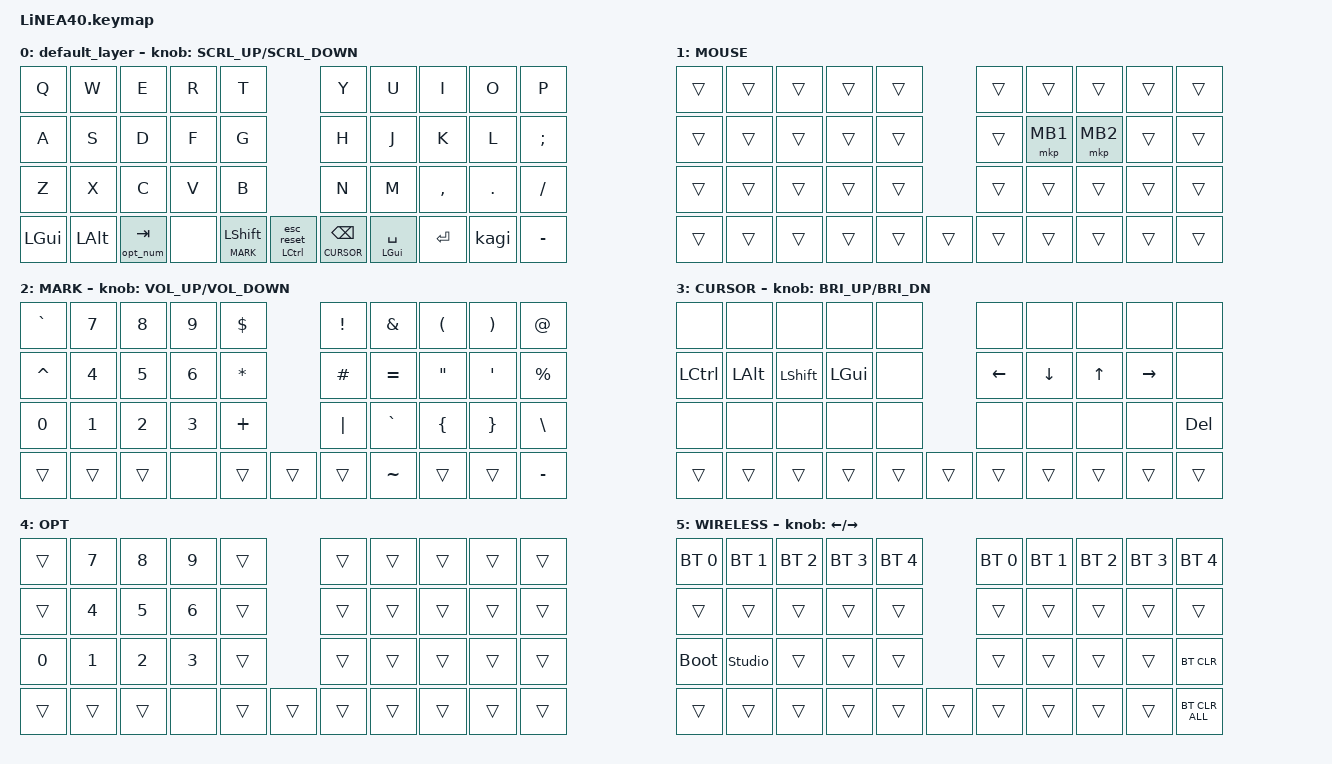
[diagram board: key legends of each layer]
#define ZMK_POINTING_DEFAULT_SCRL_VAL 150

#include <dt-bindings/zmk/input_transform.h>
#include <input/processors.dtsi>
#include <zephyr/dt-bindings/input/input-event-codes.h>
#include <behaviors.dtsi>
#include <dt-bindings/zmk/bt.h>
#include <dt-bindings/zmk/keys.h>
#include <dt-bindings/zmk/pointing.h>

#define MOUSE 1
#define MARK 2
#define CURSOR 3
#define OPT 4
#define WIRELESS 5

// 長押しの判定：別のキーを「押して離しきった」ときだけ長押し扱い（z→o の素早い連打で ⇧O に化けないように）
&mt {
    flavor = "balanced";
};

// ワンショット Shift：実質、次のキーを押すまでずっと Shift（1分で切れる）
&sk {
    release-after-ms = <60000>;
};

//mouse cursol

&mmv {
    delay-ms = <20>;
    trigger-period-ms = <5>;
    time-to-max-speed-ms = <100>;
    acceleration-exponent = <2>;
};

//mouse scroll

&msc {
    delay-ms = <3>;
    trigger-period-ms = <3>;
    time-to-max-speed-ms = <100>;
    acceleration-exponent = <0>;
};

&trackball_listener {
    scroller {
        layers = <MARK>;
        // 向きを逆にしたいときは、次の行の前に <&zip_xy_transform INPUT_TRANSFORM_Y_INVERT>, を足す
        input-processors = <&zip_xy_to_scroll_mapper>;
    };
};

/ {
    // 左親指（数字・記号）と BS（移動）を両方長押しすると無線レイヤー
    conditional_layers {
        compatible = "zmk,conditional-layers";
        fn_layer {
            if-layers = <MARK CURSOR>;
            then-layer = <WIRELESS>;
        };
    };

    combos {
        compatible = "zmk,combos";

        // 日本語入力の切り替え：F＋G ＝ 英数、H＋J ＝ かな（Mac・iPad 共通）
        // 基本レイヤーのときだけ。文字を打った直後（0.15秒以内）は無効にして誤爆を防ぐ
        Eisu {
            bindings = <&kp LANG2>;
            key-positions = <13 14>;
            layers = <0>;
            timeout-ms = <40>;
            require-prior-idle-ms = <150>;
        };

        Kana {
            bindings = <&kp LANG1>;
            key-positions = <15 16>;
            layers = <0>;
            timeout-ms = <40>;
            require-prior-idle-ms = <150>;
        };

        // Aqua Voice の起動：右下の2つ（「」キー と -）を同時押しで F18
        // F18 はどのアプリも使っていないキーなので干渉しない（Aqua Voice の起動キーに F18 を登録）
        AquaVoice {
            bindings = <&kp F18>;
            key-positions = <39 40>;
            layers = <0>;
            timeout-ms = <40>;
            require-prior-idle-ms = <150>;
        };

        // Windows用だった S+D（全角/半角）と U+I（Insert）、
        // 英文の「io」で誤爆する I+O（Delete）は削除。
        // クリック系の同時押しは、Vimium の j/k などで誤爆しないよう
        // マウスレイヤー（トラボを動かしている間）だけ有効にする。

        CenterClick {
            bindings = <&mkp MB3>;
            key-positions = <17 16>;
            layers = <MOUSE>;
        };

        RightClick {
            bindings = <&mkp MB2>;
            key-positions = <18 17>;
            layers = <MOUSE>;
        };

        PrevClick {
            bindings = <&mkp MB4>;
            key-positions = <27 28>;
            layers = <MOUSE>;
        };

        ClickNext {
            bindings = <&mkp MB5>;
            key-positions = <26 27>;
            layers = <MOUSE>;
        };
    };

    macros {
        // 本物の ⌥ を押しながら、左手だけ数字にする
        opt_num: opt_num {
            compatible = "zmk,behavior-macro";
            #binding-cells = <0>;
            bindings = <&macro_press &mo OPT &kp LALT>, <&macro_pause_for_release>, <&macro_release &mo OPT &kp LALT>;
        };
    };

    behaviors {
        // 「」キー：そのまま押すと [（かなモードで「）、Shift 付きで ]（かなモードで」）
        kagi: kagi {
            compatible = "zmk,behavior-mod-morph";
            #binding-cells = <0>;
            bindings = <&kp LBKT>, <&kp RBKT>;
            mods = <(MOD_LSFT|MOD_RSFT)>;
        };

        // Esc：Shift がかかっていたら Shift を外して普通の Esc（わからなくなったら Esc でリセット）
        esc_reset: esc_reset {
            compatible = "zmk,behavior-mod-morph";
            #binding-cells = <0>;
            bindings = <&kp ESC>, <&kp ESC>;
            mods = <(MOD_LSFT|MOD_RSFT)>;
        };

        // Esc / Ctrl（左親指）
        esc_ctrl: esc_ctrl {
            compatible = "zmk,behavior-hold-tap";
            #binding-cells = <2>;
            flavor = "balanced";
            tapping-term-ms = <200>;
            bindings = <&kp>, <&esc_reset>;
        };

        // Tab：短く押すと Tab、長押しで ⌥（左手は数字）
        // 押さえたまま別のキーを押した瞬間に ⌥（ワークスペース切り替えを速く）
        // 文字を打った直後（0.15秒以内）は必ず Tab（補完のあとにすぐ打っても ⌥ に化けないように）
        tab_opt: tab_opt {
            compatible = "zmk,behavior-hold-tap";
            #binding-cells = <2>;
            flavor = "hold-preferred";
            tapping-term-ms = <200>;
            quick-tap-ms = <175>;
            require-prior-idle-ms = <150>;
            bindings = <&opt_num>, <&kp>;
        };

        // 親指のレイヤーキー：押さえている間に別のキーを押して離したら、時間に関係なくレイヤー扱い
        // （親指のレイヤーキー＋別のキーをパッと押しても、ちゃんとレイヤーになるように）
        // トン・ギュー（短く押してすぐ押し直して長押し）なら、BS や Enter を連打
        lt_th: lt_th {
            compatible = "zmk,behavior-hold-tap";
            #binding-cells = <2>;
            flavor = "balanced";
            tapping-term-ms = <200>;
            quick-tap-ms = <175>;
            hold-while-undecided; // 押した瞬間からレイヤーを仮に有効に（エンコーダの明るさがすぐ効くように）
            bindings = <&mo>, <&kp>;
        };

        // 右親指：短く押すと Space、長押しで ⌘（右親指で ⌘ を押さえて、左手で C / V / Z / A）
        // 押さえたまま別のキーを「押して離した」ときだけ ⌘。文字を打った直後（0.15秒以内）は必ず Space
        spc_cmd: spc_cmd {
            compatible = "zmk,behavior-hold-tap";
            #binding-cells = <2>;
            flavor = "balanced";
            tapping-term-ms = <200>;
            quick-tap-ms = <175>;
            require-prior-idle-ms = <150>;
            bindings = <&kp>, <&kp>;
        };

        // 左親指：短く押すとワンショット Shift、長押しで数字・記号レイヤー
        // 文字を打った直後（0.15秒以内）は必ず Shift。長押しして何も押さずに離したら何もしない
        // （スクロールや音量のあとに Shift が残らないように）
        sft_mark: sft_mark {
            compatible = "zmk,behavior-hold-tap";
            #binding-cells = <2>;
            flavor = "balanced";
            tapping-term-ms = <200>;
            require-prior-idle-ms = <150>;
            hold-while-undecided; // 押した瞬間から数字記号レイヤーを仮に有効に（エンコーダの音量がすぐ効くように）
            bindings = <&mo>, <&sk>;
        };

        re_kp: sensor_rotate_kp {
            compatible = "zmk,behavior-sensor-rotate-var";
            #sensor-binding-cells = <2>;
            bindings = <&kp>, <&kp>;
        };

        mouse_scrl: mouse_wheel_scrl {
            compatible = "zmk,behavior-sensor-rotate-var";
            #sensor-binding-cells = <2>;
            bindings = <&msc>, <&msc>;

            tap-ms = <20>;
        };
    };

    keymap {
        compatible = "zmk,keymap";

        //0 基本（Mac・US配列）：基本レイヤーはほぼ文字だけ。キーボードは「キー」と「修飾キー」だけを出す
        //  下段：Cmd  Option  Tab/⌥＋数字  [エンコーダ]  Shift(ワンショット)/数字記号（左親指）  Esc/Ctrl（左親指）
        //      | BS/移動（右親指）  Space/⌘（右親指）  [トラボ]  return（右親指）  [ ](「」)  -（ー）
        //  英数 ＝ F＋G 同時押し、かな ＝ H＋J 同時押し、Aqua Voice（F18）＝ 右下の2つを同時押し
        //  左親指の長押しと BS の長押しを両方 ＝ 無線レイヤー

        default_layer {
            bindings = <
&kp Q             &kp W              &kp E           &kp R    &kp T                                      &kp Y        &kp U  &kp I                &kp O              &kp P
&kp A             &kp S              &kp D           &kp F    &kp G                                      &kp H        &kp J  &kp K                &kp L              &kp SEMICOLON
&kp Z             &kp X              &kp C           &kp V    &kp B                                      &kp N        &kp M  &kp COMMA            &kp DOT            &kp SLASH
&kp LGUI          &kp LALT           &tab_opt 0 TAB  &none    &sft_mark MARK LSHIFT  &esc_ctrl LCTRL 0  &lt_th CURSOR BACKSPACE  &spc_cmd LGUI SPACE   &kp RET              &kagi              &kp MINUS
            >;

            sensor-bindings = <&mouse_scrl SCRL_UP SCRL_DOWN>; // スクロールの向きは SlimBlade に合わせる
        };

        //1

        MOUSE {
            bindings = <
&trans  &trans  &trans  &trans  &trans                    &trans  &trans    &trans  &trans  &trans
&trans  &trans  &trans  &trans  &trans                    &trans  &mkp MB1  &mkp MB2  &trans  &trans
&trans  &trans  &trans  &trans  &trans                    &trans  &trans    &trans    &trans  &trans
&trans  &trans  &trans  &trans  &trans  &trans    &trans  &trans            &trans    &trans  &trans
            >;
        };

        //2

        // 数字・記号（左親指を長押し）。このレイヤーの中では Shift を使わない前提で、記号はすべて専用の場所
        //   左手：テンキー型の数字（0 は Z の位置）、左上の端に `（US配列と同じ）、^ $ * +
        //   右手：( ) は上段の中指・薬指、{ } は下段の中指・薬指（基本の < > と同じ列）、" ' はホーム段
        //   右親指 ＝ ~、右下の端 ＝ -。BS・return・「」キーは基本のまま
        //   , . / ; は基本のまま打てる。< > : ? _ は基本で Shift ＋ , . ; / -

        MARK {
            bindings = <
&kp GRAVE  &kp N7     &kp N8     &kp N9    &kp DLLR                     &kp EXCL   &kp AMPS   &kp LPAR   &kp RPAR  &kp AT
&kp CARET  &kp N4     &kp N5     &kp N6    &kp STAR                     &kp HASH   &kp EQUAL  &kp DQT    &kp SQT   &kp PRCNT
&kp N0     &kp N1     &kp N2     &kp N3    &kp PLUS                     &kp PIPE   &kp GRAVE  &kp LBRC   &kp RBRC  &kp BSLH
&trans     &trans     &trans     &none     &trans     &trans      &trans  &kp TILDE            &trans     &trans    &kp MINUS
            >;

            sensor-bindings = <&re_kp C_VOLUME_UP C_VOLUME_DOWN>;
        };

        //3

        // 移動（BS を長押し）。右手 HJKL で矢印と Del だけ（ショートカットの焼き込みはしない）
        // 左手ホーム段は Ctrl / Option / Shift / Cmd（Shift を押さえながら矢印で範囲選択）
        // エンコーダ ＝ 画面の明るさ。トラックボールはゆっくり（精密）モード

        CURSOR {
            bindings = <
&none       &none       &none       &none       &none                    &none      &none      &none      &none      &none
&kp LCTRL   &kp LALT    &kp LSHIFT  &kp LGUI    &none                    &kp LEFT   &kp DOWN   &kp UP     &kp RIGHT  &none
&none       &none       &none       &none       &none                    &none      &none      &none      &none      &kp DEL
&trans      &trans      &trans      &trans      &trans  &trans    &trans  &trans               &trans     &trans     &trans
            >;

            sensor-bindings = <&re_kp C_BRI_UP C_BRI_DN>;
        };

        //4
        // ⌥（Tab を長押し）：本物の Option を押さえた状態で、左手だけ数字（数字記号レイヤーと同じ並び）
        //   ⌥＋文字・⌥＋数字・⌥＋クリックがそのまま使える。特定アプリ専用の割り当てはしない
        //   ⌥⇧＋数字は、左親指の Shift をトン → Tab 長押し → 数字

        OPT {
            bindings = <
&trans   &kp N7  &kp N8  &kp N9  &trans                     &trans  &trans  &trans  &trans  &trans
&trans   &kp N4  &kp N5  &kp N6  &trans                     &trans  &trans  &trans  &trans  &trans
&kp N0   &kp N1  &kp N2  &kp N3  &trans                     &trans  &trans  &trans  &trans  &trans
&trans   &trans  &trans  &none   &trans  &trans    &trans  &trans          &trans  &trans  &trans
            >;
        };

        //5
        // 無線・システム（左親指の長押しと BS の長押しを両方押さえる）
        // 上段：プロファイル 0＝Mac、1＝iPad … / 左下：書き込みモード、Studioロック解除

        WIRELESS {
            bindings = <
&bt BT_SEL 0  &bt BT_SEL 1    &bt BT_SEL 2  &bt BT_SEL 3  &bt BT_SEL 4                         &bt BT_SEL 0    &bt BT_SEL 1  &bt BT_SEL 2  &bt BT_SEL 3  &bt BT_SEL 4
&trans        &trans          &trans        &trans        &trans                               &trans          &trans        &trans        &trans        &trans
&bootloader   &studio_unlock  &trans        &trans        &trans                               &trans          &trans        &trans        &trans        &bt BT_CLR
&trans        &trans          &trans        &trans        &trans        &trans    &trans       &trans                        &trans        &trans        &bt BT_CLR_ALL
            >;

            sensor-bindings = <&inc_dec_kp LEFT_ARROW RIGHT_ARROW>;
        };
    };
};
